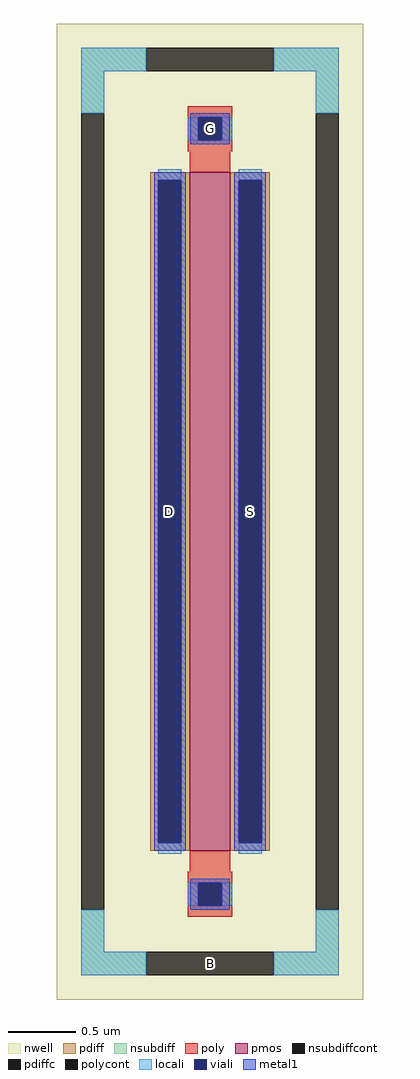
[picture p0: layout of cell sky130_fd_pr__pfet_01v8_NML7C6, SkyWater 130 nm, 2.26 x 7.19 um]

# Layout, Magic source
magic
tech sky130A
magscale 1 2
<< nwell >>
rect -226 -719 226 719
<< pmos >>
rect -30 -500 30 500
<< pdiff >>
rect -88 488 -30 500
rect -88 -488 -76 488
rect -42 -488 -30 488
rect -88 -500 -30 -488
rect 30 488 88 500
rect 30 -488 42 488
rect 76 -488 88 488
rect 30 -500 88 -488
<< pdiffc >>
rect -76 -488 -42 488
rect 42 -488 76 488
<< nsubdiff >>
rect -190 649 -94 683
rect 94 649 190 683
rect -190 587 -156 649
rect 156 587 190 649
rect -190 -649 -156 -587
rect 156 -649 190 -587
rect -190 -683 -94 -649
rect 94 -683 190 -649
<< nsubdiffcont >>
rect -94 649 94 683
rect -190 -587 -156 587
rect 156 -587 190 587
rect -94 -683 94 -649
<< poly >>
rect -33 581 33 597
rect -33 547 -17 581
rect 17 547 33 581
rect -33 531 33 547
rect -30 500 30 531
rect -30 -531 30 -500
rect -33 -547 33 -531
rect -33 -581 -17 -547
rect 17 -581 33 -547
rect -33 -597 33 -581
<< polycont >>
rect -17 547 17 581
rect -17 -581 17 -547
<< locali >>
rect -190 649 -94 683
rect 94 649 190 683
rect -190 587 -156 649
rect 156 587 190 649
rect -33 547 -17 581
rect 17 547 33 581
rect -76 488 -42 504
rect -76 -504 -42 -488
rect 42 488 76 504
rect 42 -504 76 -488
rect -33 -581 -17 -547
rect 17 -581 33 -547
rect -190 -649 -156 -587
rect 156 -649 190 -587
rect -190 -683 -94 -649
rect 94 -683 190 -649
<< viali >>
rect -17 547 17 581
rect -76 -488 -42 488
rect 42 -488 76 488
rect -17 -581 17 -547
<< metal1 >>
rect -29 581 29 587
rect -29 547 -17 581
rect 17 547 29 581
rect -29 541 29 547
rect -82 488 -36 500
rect -82 -488 -76 488
rect -42 -488 -36 488
rect -82 -500 -36 -488
rect 36 488 82 500
rect 36 -488 42 488
rect 76 -488 82 488
rect 36 -500 82 -488
rect -29 -547 29 -541
rect -29 -581 -17 -547
rect 17 -581 29 -547
rect -29 -587 29 -581
<< labels >>
rlabel nsubdiffcont 0 -666 0 -666 0 B
port 5 nsew
rlabel pdiffc -59 0 -59 0 0 D
port 6 nsew
rlabel pdiffc 59 0 59 0 0 S
port 7 nsew
rlabel polycont 0 564 0 564 0 G
port 8 nsew
<< properties >>
string FIXED_BBOX -173 -666 173 666
string gencell sky130_fd_pr__pfet_01v8
string library sky130
string parameters w 5.0 l 0.3 m 1 nf 1 diffcov 100 polycov 100 guard 1 glc 1 grc 1 gtc 1 gbc 1 tbcov 100 rlcov 100 topc 1 botc 1 poverlap 0 doverlap 1 lmin 0.15 wmin 0.42 class mosfet compatible {sky130_fd_pr__pfet_01v8  sky130_fd_pr__pfet_01v8_lvt sky130_fd_pr__pfet_01v8_hvt  sky130_fd_pr__pfet_g5v0d10v5} full_metal 1 conn_gates 0 viasrc 100 viadrn 100 viagate 100 viagb 0 viagr 0 viagl 0 viagt 0 doports 1 ad 1.45 as 1.45 pd 10.58 ps 10.58 nrd 0.058 nrs 0.058 sa 0 sb 0 sd 0 mult 1
<< end >>
